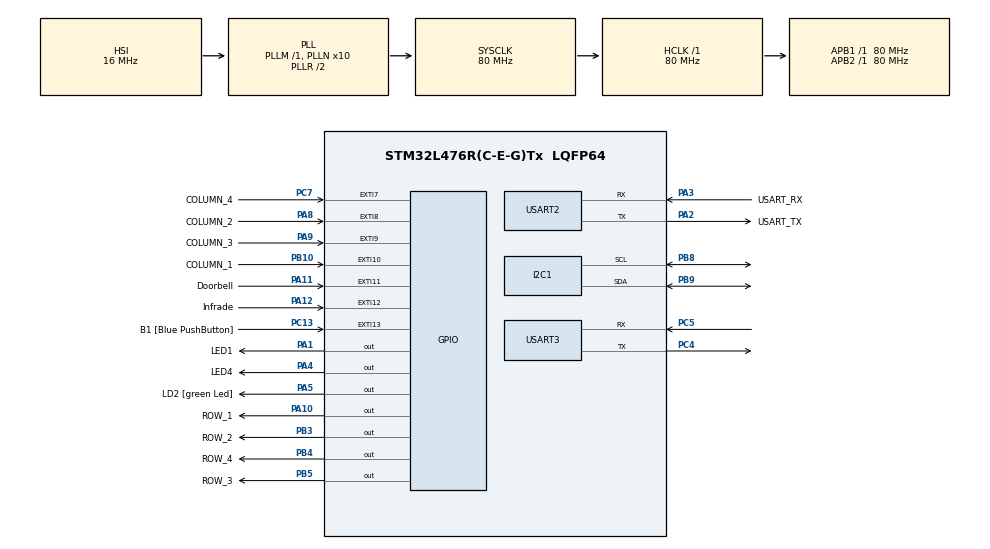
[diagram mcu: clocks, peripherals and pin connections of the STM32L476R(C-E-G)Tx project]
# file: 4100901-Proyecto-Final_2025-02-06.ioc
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I2C1.Timing=0x10D19CE4
Mcu.Family=STM32L4
Mcu.Name=STM32L476R(C-E-G)Tx
Mcu.Package=LQFP64
NVIC.EXTI15_10_IRQn=true\:0\:0\:false\:false\:true\:true\:true\:true
NVIC.EXTI9_5_IRQn=true\:0\:0\:false\:false\:true\:true\:true\:true
NVIC.PriorityGroup=NVIC_PRIORITYGROUP_4
NVIC.USART2_IRQn=true\:0\:0\:false\:false\:true\:true\:true\:true
NVIC.USART3_IRQn=true\:0\:0\:false\:false\:true\:true\:true\:true
PA1.GPIO_Label=LED1
PA1.Signal=GPIO_Output
PA10.GPIO_Label=ROW_1
PA10.GPIO_ModeDefaultOutputPP=GPIO_MODE_OUTPUT_OD
PA10.GPIO_PuPd=GPIO_PULLUP
PA10.GPIO_Speed=GPIO_SPEED_FREQ_VERY_HIGH
PA10.PinState=GPIO_PIN_RESET
PA10.Signal=GPIO_Output
PA11.GPIO_Label=Doorbell
PA11.GPIO_PuPd=GPIO_PULLDOWN
PA11.Signal=GPXTI11
PA12.GPIO_Label=Infrade
PA12.GPIO_PuPd=GPIO_PULLDOWN
PA12.Signal=GPXTI12
PA13\ (JTMS-SWDIO).GPIO_Label=TMS
PA13\ (JTMS-SWDIO).Mode=Serial_Wire
PA13\ (JTMS-SWDIO).Signal=SYS_JTMS-SWDIO
PA14\ (JTCK-SWCLK).GPIO_Label=TCK
PA14\ (JTCK-SWCLK).Mode=Serial_Wire
PA14\ (JTCK-SWCLK).Signal=SYS_JTCK-SWCLK
PA2.GPIO_Label=USART_TX
PA2.GPIO_Mode=GPIO_MODE_AF_PP
PA2.GPIO_PuPd=GPIO_NOPULL
PA2.GPIO_Speed=GPIO_SPEED_FREQ_VERY_HIGH
PA2.Mode=Asynchronous
PA2.Signal=USART2_TX
PA3.GPIO_Label=USART_RX
PA3.GPIO_Mode=GPIO_MODE_AF_PP
PA3.GPIO_PuPd=GPIO_NOPULL
PA3.GPIO_Speed=GPIO_SPEED_FREQ_VERY_HIGH
PA3.Mode=Asynchronous
PA3.Signal=USART2_RX
PA4.GPIO_Label=LED4
PA4.Signal=GPIO_Output
PA5.GPIO_Label=LD2 [green Led]
PA5.GPIO_ModeDefaultOutputPP=GPIO_MODE_OUTPUT_PP
PA5.GPIO_PuPd=GPIO_NOPULL
PA5.GPIO_Speed=GPIO_SPEED_FREQ_LOW
PA5.Signal=GPIO_Output
PA8.GPIO_Label=COLUMN_2
PA8.GPIO_ModeDefaultEXTI=GPIO_MODE_IT_FALLING
PA8.GPIO_PuPd=GPIO_PULLUP
PA8.Signal=GPXTI8
PA9.GPIO_Label=COLUMN_3
PA9.GPIO_ModeDefaultEXTI=GPIO_MODE_IT_FALLING
PA9.GPIO_PuPd=GPIO_PULLUP
PA9.Signal=GPXTI9
PB10.GPIO_Label=COLUMN_1
PB10.GPIO_ModeDefaultEXTI=GPIO_MODE_IT_FALLING
PB10.GPIO_PuPd=GPIO_PULLUP
PB10.Signal=GPXTI10
PB3\ (JTDO-TRACESWO).GPIO_Label=ROW_2
PB3\ (JTDO-TRACESWO).GPIO_ModeDefaultOutputPP=GPIO_MODE_OUTPUT_OD
PB3\ (JTDO-TRACESWO).GPIO_PuPd=GPIO_PULLUP
PB3\ (JTDO-TRACESWO).GPIO_Speed=GPIO_SPEED_FREQ_VERY_HIGH
PB3\ (JTDO-TRACESWO).PinState=GPIO_PIN_RESET
PB3\ (JTDO-TRACESWO).Signal=GPIO_Output
PB4\ (NJTRST).GPIO_Label=ROW_4
PB4\ (NJTRST).GPIO_ModeDefaultOutputPP=GPIO_MODE_OUTPUT_OD
PB4\ (NJTRST).GPIO_PuPd=GPIO_PULLUP
PB4\ (NJTRST).GPIO_Speed=GPIO_SPEED_FREQ_VERY_HIGH
PB4\ (NJTRST).PinState=GPIO_PIN_RESET
PB4\ (NJTRST).Signal=GPIO_Output
PB5.GPIO_Label=ROW_3
PB5.GPIO_ModeDefaultOutputPP=GPIO_MODE_OUTPUT_OD
PB5.GPIO_PuPd=GPIO_PULLUP
PB5.GPIO_Speed=GPIO_SPEED_FREQ_VERY_HIGH
PB5.PinState=GPIO_PIN_RESET
PB5.Signal=GPIO_Output
PB8.Mode=I2C
PB8.Signal=I2C1_SCL
PB9.Mode=I2C
PB9.Signal=I2C1_SDA
PC13.GPIO_Label=B1 [Blue PushButton]
PC13.GPIO_ModeDefaultEXTI=GPIO_MODE_IT_RISING
PC13.GPIO_PuPd=GPIO_PULLDOWN
PC13.Signal=GPXTI13
PC14-OSC32_IN\ (PC14).Mode=LSE-External-Oscillator
PC14-OSC32_IN\ (PC14).Signal=RCC_OSC32_IN
PC15-OSC32_OUT\ (PC15).Mode=LSE-External-Oscillator
PC15-OSC32_OUT\ (PC15).Signal=RCC_OSC32_OUT
PC4.Mode=Asynchronous
PC4.Signal=USART3_TX
PC5.Mode=Asynchronous
PC5.Signal=USART3_RX
PC7.GPIO_Label=COLUMN_4
PC7.GPIO_ModeDefaultEXTI=GPIO_MODE_IT_FALLING
PC7.GPIO_PuPd=GPIO_PULLUP
PC7.Signal=GPXTI7
PH0-OSC_IN\ (PH0).Signal=RCC_OSC_IN
PH1-OSC_OUT\ (PH1).Signal=RCC_OSC_OUT
ProjectManager.HeapSize=0x200
ProjectManager.StackSize=0x400
ProjectManager.TargetToolchain=CMake
RCC.ADCFreq_Value=64000000
RCC.AHBFreq_Value=80000000
RCC.APB1Freq_Value=80000000
RCC.APB1TimFreq_Value=80000000
RCC.APB2Freq_Value=80000000
RCC.APB2TimFreq_Value=80000000
RCC.CortexFreq_Value=80000000
RCC.HCLKFreq_Value=80000000
RCC.HSE_VALUE=8000000
RCC.HSI_VALUE=16000000
RCC.MSI_VALUE=4000000
RCC.PLLN=10
RCC.PLLSourceVirtual=RCC_PLLSOURCE_HSI
RCC.PREFETCH_ENABLE=1
RCC.SYSCLKFreq_VALUE=80000000
RCC.SYSCLKSource=RCC_SYSCLKSOURCE_PLLCLK
RCC.USBFreq_Value=64000000
RCC.VCOOutputFreq_Value=160000000
USART2.VirtualMode-Asynchronous=VM_ASYNC
USART3.VirtualMode-Asynchronous=VM_ASYNC
board=NUCLEO-L476RG

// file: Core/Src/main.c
/* USER CODE BEGIN Header */
/**
  ******************************************************************************
  * @file           : main.c
  * @brief          : Main program body
  ******************************************************************************
  * @attention
  *
  * Copyright (c) 2025 STMicroelectronics.
  * All rights reserved.
  *
  * This software is licensed under terms that can be found in the LICENSE file
  * in the root directory of this software component.
  * If no LICENSE file comes with this software, it is provided AS-IS.
  *
  ******************************************************************************
  */
/* USER CODE END Header */
#include "main.h"

/* USER CODE BEGIN Includes */
#include "keypad.h"
#include "ring_buffer.h"
#include <string.h>
#include "control_system.h"
#include "ssd1306_fonts.h"
#include "ssd1306.h"
/* USER CODE END Includes */

/* USER CODE BEGIN PD */
#define FW_VERSION "0.1.0\r\n"
/* USER CODE END PD */

I2C_HandleTypeDef hi2c1;

UART_HandleTypeDef huart2;
UART_HandleTypeDef huart3;

/* USER CODE BEGIN PV */
uint8_t rx_byte;
/* USER CODE END PV */

void SystemClock_Config(void);
static void MX_GPIO_Init(void);
static void MX_USART2_UART_Init(void);
static void MX_I2C1_Init(void);
static void MX_USART3_UART_Init(void);

/* USER CODE BEGIN 0 */
uint32_t key_pressed_tick = 0;  // Stores the timestamp when a key is pressed
uint16_t column_pressed = 0;    // Stores the column of the keypad that was pressed
uint32_t debounce_tick = 0;  // Stores the timestamp to prevent debounce
uint8_t sensor_detected_flag = 0;  // Bandera para indicar que se ha detectado el sensor
uint8_t doorbell_pressed = 0;
// Callback to handle GPIO interrupts (matrix keypad)
void HAL_GPIO_EXTI_Callback(uint16_t GPIO_Pin) {
  // Checks if enough time has passed since the last interrupt (debounce)
  if ((debounce_tick + 200) > HAL_GetTick()) {
    return;  // If not enough time has passed, ignore the interrupt
  }
  debounce_tick = HAL_GetTick();  // Update the last interrupt timestamp
  key_pressed_tick = HAL_GetTick();  // Store the timestamp when the key was pressed
  column_pressed = GPIO_Pin;  // Store the column of the keypad that was pressed

  // Verificar si la interrupción proviene de PA12 (EXTI12)
  if (GPIO_Pin == GPIO_PIN_12) // PA12
  {
      // Leer el estado del sensor (PA12)
      GPIO_PinState sensor_state = HAL_GPIO_ReadPin(GPIOA, GPIO_PIN_12);  // PA12 es el pin configurado

      if (sensor_state == GPIO_PIN_SET){
        sensor_detected_flag = 1;  // Marca que el sensor fue activado
      }
  }
  // Verificar si la interrupción proviene de PA11 (timbre)
  if (GPIO_Pin == GPIO_PIN_11) {  // PA11
    // Leer el estado del botón PA11 Si el botón ha sido presionado
    if (HAL_GPIO_ReadPin(GPIOA, GPIO_PIN_11) == GPIO_PIN_SET) {
        doorbell_pressed = 1;  // Marcar el estado como presionado
    }
    else {
        // Si el botón ha sido soltado
        doorbell_pressed = 0;  // Marcar el estado como no presionado
    }
  }
}

// Callback to handle USART interrupts (console)
void heartbeat(void)
{
	static uint32_t tick = 0;
	if (tick < HAL_GetTick()) {
		tick = HAL_GetTick() + 500;
		HAL_GPIO_TogglePin(LD2_GPIO_Port, LD2_Pin);
	}
}
/* USER CODE END 0 */

int main(void)
{

  /* MCU Configuration--------------------------------------------------------*/

  /* Reset of all peripherals, Initializes the Flash interface and the Systick. */
  HAL_Init();

  /* Configure the system clock */
  SystemClock_Config();

  /* Initialize all configured peripherals */
  MX_GPIO_Init();
  MX_USART2_UART_Init();
  MX_I2C1_Init();
  MX_USART3_UART_Init();
  /* USER CODE BEGIN 2 */
  keypad_init();
  ssd1306_Init();
  control_system_init();
  /* USER CODE END 2 */

  /* Infinite loop */
  /* USER CODE BEGIN WHILE */
  HAL_UART_Transmit(&huart2, (uint8_t *)FW_VERSION, sizeof(FW_VERSION)-1, 10);
  HAL_UART_Transmit(&huart2, (uint8_t *)"Access Control System\r\n", 23, 1000);
  memset(current_cmd, 0, LENGTH); // Limpiar el buffer de comandos
  HAL_UART_Receive_IT(&huart2, &rx_byte, 1); // Start UART interrupt
  HAL_UART_Receive_IT(&huart3, &esp01_rx_byte,1);
  ssd1306_Welcome();
  while (1) {

    heartbeat();  // Llama a la función heartbeat() para realizar tareas periódicas, como monitorear o mantener el sistema activo
    // Verifica si una tecla ha sido presionada y si ha pasado el tiempo suficiente desde la última vez que se presionó una tecla
    if (column_pressed != 0 && ((key_pressed_tick + 5) < HAL_GetTick())) {
        uint8_t key = keypad_scan(column_pressed);  // Escanea el teclado en la columna presionada para obtener el valor de la tecla

        if (key != 0) {  // Si se ha detectado una tecla válida
            ring_buffer_write(&keypad, key);  // Escribe el valor de la tecla en el buffer circular del teclado
            HAL_UART_Transmit(&huart2, &key, 1, 100);  // Transmite el valor de la tecla a través de UART (por ejemplo, para depuración)
        }

        column_pressed = 0;  // Resetea la columna presionada para esperar la próxima tecla
    }
    if (doorbell_pressed == 1) {  // Verifica si el timbre ha sido presionado
        process_timbre();  // Llama a la función que procesa el evento del timbre (por ejemplo, mostrar mensaje, etc.)
    }
    process_sensor();  // Llama a la función que procesa el estado del sensor (detecta si hay alguien cerca)
    process_commands();  // Llama a la función que procesa los comandos (procesa los comandos recibidos por UART, teclado, etc.)
    process_button();  // Llama a la función que procesa el estado del botón físico (si el usuario presiona el botón)

    /* USER CODE END WHILE */

  }
}

void SystemClock_Config(void)
{
  RCC_OscInitTypeDef RCC_OscInitStruct = {0};
  RCC_ClkInitTypeDef RCC_ClkInitStruct = {0};

  /** Configure the main internal regulator output voltage
  */
  if (HAL_PWREx_ControlVoltageScaling(PWR_REGULATOR_VOLTAGE_SCALE1) != HAL_OK)
  {
    Error_Handler();
  }

  /** Initializes the RCC Oscillators according to the specified parameters
  * in the RCC_OscInitTypeDef structure.
  */
  RCC_OscInitStruct.OscillatorType = RCC_OSCILLATORTYPE_HSI;
  RCC_OscInitStruct.HSIState = RCC_HSI_ON;
  RCC_OscInitStruct.HSICalibrationValue = RCC_HSICALIBRATION_DEFAULT;
  RCC_OscInitStruct.PLL.PLLState = RCC_PLL_ON;
  RCC_OscInitStruct.PLL.PLLSource = RCC_PLLSOURCE_HSI;
  RCC_OscInitStruct.PLL.PLLM = 1;
  RCC_OscInitStruct.PLL.PLLN = 10;
  RCC_OscInitStruct.PLL.PLLP = RCC_PLLP_DIV7;
  RCC_OscInitStruct.PLL.PLLQ = RCC_PLLQ_DIV2;
  RCC_OscInitStruct.PLL.PLLR = RCC_PLLR_DIV2;
  if (HAL_RCC_OscConfig(&RCC_OscInitStruct) != HAL_OK)
  {
    Error_Handler();
  }

  /** Initializes the CPU, AHB and APB buses clocks
  */
  RCC_ClkInitStruct.ClockType = RCC_CLOCKTYPE_HCLK|RCC_CLOCKTYPE_SYSCLK
                              |RCC_CLOCKTYPE_PCLK1|RCC_CLOCKTYPE_PCLK2;
  RCC_ClkInitStruct.SYSCLKSource = RCC_SYSCLKSOURCE_PLLCLK;
  RCC_ClkInitStruct.AHBCLKDivider = RCC_SYSCLK_DIV1;
  RCC_ClkInitStruct.APB1CLKDivider = RCC_HCLK_DIV1;
  RCC_ClkInitStruct.APB2CLKDivider = RCC_HCLK_DIV1;

  if (HAL_RCC_ClockConfig(&RCC_ClkInitStruct, FLASH_LATENCY_4) != HAL_OK)
  {
    Error_Handler();
  }
}

static void MX_I2C1_Init(void)
{

  hi2c1.Instance = I2C1;
  hi2c1.Init.Timing = 0x10D19CE4;
  hi2c1.Init.OwnAddress1 = 0;
  hi2c1.Init.AddressingMode = I2C_ADDRESSINGMODE_7BIT;
  hi2c1.Init.DualAddressMode = I2C_DUALADDRESS_DISABLE;
  hi2c1.Init.OwnAddress2 = 0;
  hi2c1.Init.OwnAddress2Masks = I2C_OA2_NOMASK;
  hi2c1.Init.GeneralCallMode = I2C_GENERALCALL_DISABLE;
  hi2c1.Init.NoStretchMode = I2C_NOSTRETCH_DISABLE;
  if (HAL_I2C_Init(&hi2c1) != HAL_OK)
  {
    Error_Handler();
  }

  /** Configure Analogue filter
  */
  if (HAL_I2CEx_ConfigAnalogFilter(&hi2c1, I2C_ANALOGFILTER_ENABLE) != HAL_OK)
  {
    Error_Handler();
  }

  /** Configure Digital filter
  */
  if (HAL_I2CEx_ConfigDigitalFilter(&hi2c1, 0) != HAL_OK)
  {
    Error_Handler();
  }

}

static void MX_USART2_UART_Init(void)
{

  huart2.Instance = USART2;
  huart2.Init.BaudRate = 115200;
  huart2.Init.WordLength = UART_WORDLENGTH_8B;
  huart2.Init.StopBits = UART_STOPBITS_1;
  huart2.Init.Parity = UART_PARITY_NONE;
  huart2.Init.Mode = UART_MODE_TX_RX;
  huart2.Init.HwFlowCtl = UART_HWCONTROL_NONE;
  huart2.Init.OverSampling = UART_OVERSAMPLING_16;
  huart2.Init.OneBitSampling = UART_ONE_BIT_SAMPLE_DISABLE;
  huart2.AdvancedInit.AdvFeatureInit = UART_ADVFEATURE_NO_INIT;
  if (HAL_UART_Init(&huart2) != HAL_OK)
  {
    Error_Handler();
  }

}

static void MX_USART3_UART_Init(void)
{

  huart3.Instance = USART3;
  huart3.Init.BaudRate = 115200;
  huart3.Init.WordLength = UART_WORDLENGTH_8B;
  huart3.Init.StopBits = UART_STOPBITS_1;
  huart3.Init.Parity = UART_PARITY_NONE;
  huart3.Init.Mode = UART_MODE_TX_RX;
  huart3.Init.HwFlowCtl = UART_HWCONTROL_NONE;
  huart3.Init.OverSampling = UART_OVERSAMPLING_16;
  huart3.Init.OneBitSampling = UART_ONE_BIT_SAMPLE_DISABLE;
  huart3.AdvancedInit.AdvFeatureInit = UART_ADVFEATURE_NO_INIT;
  if (HAL_UART_Init(&huart3) != HAL_OK)
  {
    Error_Handler();
  }

}

static void MX_GPIO_Init(void)
{
  GPIO_InitTypeDef GPIO_InitStruct = {0};

  /* GPIO Ports Clock Enable */
  __HAL_RCC_GPIOC_CLK_ENABLE();
  __HAL_RCC_GPIOH_CLK_ENABLE();
  __HAL_RCC_GPIOA_CLK_ENABLE();
  __HAL_RCC_GPIOB_CLK_ENABLE();

  /*Configure GPIO pin Output Level */
  HAL_GPIO_WritePin(GPIOA, LED1_Pin|LED4_Pin|LD2_Pin|ROW_1_Pin, GPIO_PIN_RESET);

  /*Configure GPIO pin Output Level */
  HAL_GPIO_WritePin(GPIOB, ROW_2_Pin|ROW_4_Pin|ROW_3_Pin, GPIO_PIN_RESET);

  /*Configure GPIO pin : B1_Pin */
  GPIO_InitStruct.Pin = B1_Pin;
  GPIO_InitStruct.Mode = GPIO_MODE_IT_RISING;
  GPIO_InitStruct.Pull = GPIO_PULLDOWN;
  HAL_GPIO_Init(B1_GPIO_Port, &GPIO_InitStruct);

  /*Configure GPIO pins : LED1_Pin LED4_Pin LD2_Pin */
  GPIO_InitStruct.Pin = LED1_Pin|LED4_Pin|LD2_Pin;
  GPIO_InitStruct.Mode = GPIO_MODE_OUTPUT_PP;
  GPIO_InitStruct.Pull = GPIO_NOPULL;
  GPIO_InitStruct.Speed = GPIO_SPEED_FREQ_LOW;
  HAL_GPIO_Init(GPIOA, &GPIO_InitStruct);

  /*Configure GPIO pin : COLUMN_1_Pin */
  GPIO_InitStruct.Pin = COLUMN_1_Pin;
  GPIO_InitStruct.Mode = GPIO_MODE_IT_FALLING;
  GPIO_InitStruct.Pull = GPIO_PULLUP;
  HAL_GPIO_Init(COLUMN_1_GPIO_Port, &GPIO_InitStruct);

  /*Configure GPIO pin : COLUMN_4_Pin */
  GPIO_InitStruct.Pin = COLUMN_4_Pin;
  GPIO_InitStruct.Mode = GPIO_MODE_IT_FALLING;
  GPIO_InitStruct.Pull = GPIO_PULLUP;
  HAL_GPIO_Init(COLUMN_4_GPIO_Port, &GPIO_InitStruct);

  /*Configure GPIO pins : COLUMN_2_Pin COLUMN_3_Pin */
  GPIO_InitStruct.Pin = COLUMN_2_Pin|COLUMN_3_Pin;
  GPIO_InitStruct.Mode = GPIO_MODE_IT_FALLING;
  GPIO_InitStruct.Pull = GPIO_PULLUP;
  HAL_GPIO_Init(GPIOA, &GPIO_InitStruct);

  /*Configure GPIO pin : ROW_1_Pin */
  GPIO_InitStruct.Pin = ROW_1_Pin;
  GPIO_InitStruct.Mode = GPIO_MODE_OUTPUT_OD;
  GPIO_InitStruct.Pull = GPIO_PULLUP;
  GPIO_InitStruct.Speed = GPIO_SPEED_FREQ_VERY_HIGH;
  HAL_GPIO_Init(ROW_1_GPIO_Port, &GPIO_InitStruct);

  /*Configure GPIO pins : Doorbell_Pin Infrade_Pin */
  GPIO_InitStruct.Pin = Doorbell_Pin|Infrade_Pin;
  GPIO_InitStruct.Mode = GPIO_MODE_IT_RISING;
  GPIO_InitStruct.Pull = GPIO_PULLDOWN;
  HAL_GPIO_Init(GPIOA, &GPIO_InitStruct);

  /*Configure GPIO pins : ROW_2_Pin ROW_4_Pin ROW_3_Pin */
  GPIO_InitStruct.Pin = ROW_2_Pin|ROW_4_Pin|ROW_3_Pin;
  GPIO_InitStruct.Mode = GPIO_MODE_OUTPUT_OD;
  GPIO_InitStruct.Pull = GPIO_PULLUP;
  GPIO_InitStruct.Speed = GPIO_SPEED_FREQ_VERY_HIGH;
  HAL_GPIO_Init(GPIOB, &GPIO_InitStruct);

  /* EXTI interrupt init*/
  HAL_NVIC_SetPriority(EXTI9_5_IRQn, 0, 0);
  HAL_NVIC_EnableIRQ(EXTI9_5_IRQn);

  HAL_NVIC_SetPriority(EXTI15_10_IRQn, 0, 0);
  HAL_NVIC_EnableIRQ(EXTI15_10_IRQn);

}

void Error_Handler(void)
{
  __disable_irq();
  while (1)
  {
  }
}
